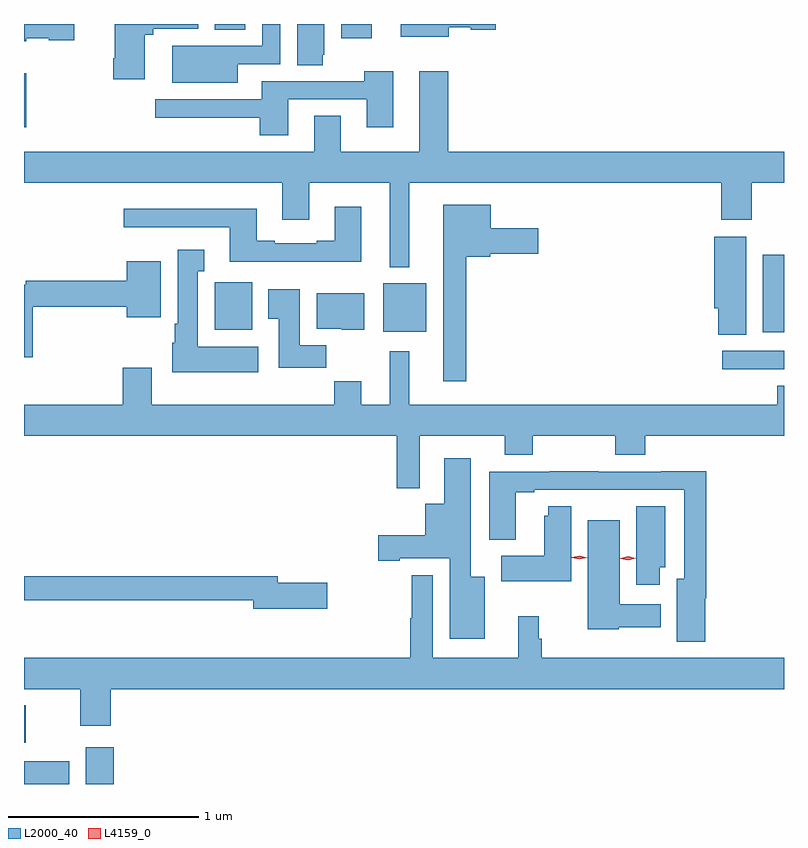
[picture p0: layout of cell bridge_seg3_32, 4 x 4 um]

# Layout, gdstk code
import gdstk
lib = gdstk.Library(unit=1e-6, precision=1e-09)
def R(c, l, rs):  # rectangles x0, y0, x1, y1
    for r in rs: c.add(gdstk.rectangle(r[:2], r[2:], *l))
def P(c, l, *ps):  # polygons
    for p in ps: c.add(gdstk.Polygon(p, *l))
L2000_40 = (2000, 40)
L4159_0 = (4159, 0)

bridge_seg3_32 = lib.new_cell('bridge_seg3_32')
R(bridge_seg3_32, L2000_40, [(683.839,689.76,684.076,689.881), (684.164,689.76,684.311,689.953), (683.839,689.976,683.847,690.175), (687.513,691.944,687.839,692.04), (687.728,692.138,687.839,692.545), (685.73,692.141,685.957,692.395), (684.843,692.15,685.039,692.4), (683.839,693.216,683.852,693.502), (685.508,693.684,685.669,693.76), (684.842,693.731,685.003,693.76)])
P(bridge_seg3_32, L2000_40, [(686.074,693.743),(686.19,693.743),(686.19,693.731),(686.323,693.731),(686.323,693.76),(685.823,693.76),(685.823,693.692),(686.074,693.692)],
  [(685.412,693.597),(685.42,693.597),(685.42,693.76),(685.277,693.76),(685.277,693.544),(685.412,693.544)],
  [(684.964,693.549),(685.188,693.549),(685.188,693.76),(685.092,693.76),(685.092,693.645),(684.846,693.645),(684.846,693.646),(684.62,693.646),(684.62,693.452),(684.964,693.452)],
  [(683.85,693.686),(683.97,693.686),(683.97,693.674),(684.103,693.674),(684.103,693.76),(683.839,693.76),(683.839,693.668),(683.85,693.668)],
  [(684.475,693.704),(684.52,693.704),(684.52,693.734),(684.757,693.734),(684.757,693.76),(684.317,693.76),(684.317,693.58),(684.31,693.58),(684.31,693.468),(684.475,693.468)],
  [(683.839,692.924),(685.199,692.924),(685.199,692.73),(685.339,692.73),(685.339,692.924),(685.763,692.924),(685.763,692.48),(685.867,692.48),(685.867,692.924),(687.509,692.924),(687.509,692.73),(687.669,692.73),(687.669,692.924),(687.839,692.924),(687.839,693.088),(686.072,693.088),(686.072,693.511),(685.919,693.511),(685.919,693.088),(685.507,693.088),(685.507,693.278),(685.367,693.278),(685.367,693.088),(683.839,693.088)],
  [(685.231,693.363),(685.643,693.363),(685.643,693.216),(685.783,693.216),(685.783,693.511),(685.631,693.511),(685.631,693.459),(685.091,693.459),(685.091,693.363),(684.531,693.363),(684.531,693.266),(685.079,693.266),(685.079,693.174),(685.231,693.174)],
  [(686.167,692.534),(686.292,692.534),(686.292,692.552),(686.545,692.552),(686.545,692.686),(686.296,692.686),(686.296,692.809),(686.045,692.809),(686.045,691.881),(686.167,691.881)],
  [(685.615,692.797),(685.475,692.797),(685.475,692.62),(685.379,692.62),(685.379,692.607),(685.159,692.607),(685.159,692.62),(685.063,692.62),(685.063,692.788),(684.363,692.788),(684.363,692.691),(684.923,692.691),(684.923,692.51),(685.615,692.51)],
  [(687.64,692.641),(687.473,692.641),(687.473,692.265),(687.494,692.265),(687.494,692.125),(687.64,692.125)],
  [(685.072,692.062),(684.754,692.062),(684.754,692.459),(684.787,692.459),(684.787,692.572),(684.647,692.572),(684.647,692.182),(684.632,692.182),(684.632,692.082),(684.62,692.082),(684.62,691.928),(685.072,691.928)],
  [(683.885,692.272),(684.38,692.272),(684.38,692.216),(684.559,692.216),(684.559,692.512),(684.38,692.512),(684.38,692.408),(683.848,692.408),(683.848,692.388),(683.839,692.388),(683.839,692.007),(683.885,692.007)],
  [(685.43,692.068),(685.291,692.068),(685.291,692.365),(685.124,692.365),(685.124,692.209),(685.181,692.209),(685.181,691.95),(685.43,691.95)],
  [(685.63,692.344),(685.379,692.344),(685.379,692.156),(685.512,692.156),(685.512,692.15),(685.63,692.15)],
  [(685.921,691.592),(686.369,691.592),(686.369,691.493),(686.517,691.493),(686.517,691.592),(686.95,691.592),(686.95,691.493),(687.11,691.493),(687.11,691.592),(687.839,691.592),(687.839,691.855),(687.803,691.855),(687.803,691.756),(685.867,691.756),(685.867,692.038),(685.763,692.038),(685.763,691.756),(685.615,691.756),(685.615,691.88),(685.471,691.88),(685.471,691.756),(684.511,691.756),(684.511,691.951),(684.359,691.951),(684.359,691.756),(683.839,691.756),(683.839,691.592),(685.8,691.592),(685.8,691.317),(685.921,691.317)],
  [(686.263,690.85),(686.191,690.85),(686.191,691.474),(686.051,691.474),(686.051,691.234),(685.952,691.234),(685.952,691.069),(685.704,691.069),(685.704,690.935),(685.816,690.935),(685.816,690.947),(686.081,690.947),(686.081,690.524),(686.263,690.524)],
  [(687.425,690.737),(687.431,690.737),(687.431,691.406),(687.193,691.406),(687.193,691.404),(686.861,691.404),(686.861,691.406),(686.605,691.406),(686.605,691.404),(686.288,691.404),(686.288,691.046),(686.428,691.046),(686.428,691.296),(686.524,691.296),(686.524,691.308),(687.315,691.308),(687.315,690.841),(687.275,690.841),(687.275,690.509),(687.425,690.509)],
  [(687.184,690.902),(687.214,690.902),(687.214,691.223),(687.062,691.223),(687.062,690.81),(687.184,690.81)],
  [(686.719,691.223),(686.597,691.223),(686.597,691.173),(686.576,691.173),(686.576,690.961),(686.352,690.961),(686.352,690.827),(686.719,690.827)],
  [(686.97,690.584),(687.19,690.584),(687.19,690.706),(686.974,690.706),(686.974,691.147),(686.807,691.147),(686.807,690.575),(686.97,690.575)],
  [(684.296,690.26),(687.839,690.26),(687.839,690.424),(686.563,690.424),(686.563,690.525),(686.548,690.525),(686.548,690.643),(686.441,690.643),(686.441,690.424),(685.989,690.424),(685.989,690.859),(685.881,690.859),(685.881,690.633),(685.873,690.633),(685.873,690.424),(683.839,690.424),(683.839,690.26),(684.136,690.26),(684.136,690.066),(684.296,690.066)],
  [(685.435,690.818),(685.174,690.818),(685.174,690.854),(683.839,690.854),(683.839,690.726),(685.046,690.726),(685.046,690.683),(685.435,690.683)])
P(bridge_seg3_32, L4159_0, [(687.019,690.938),(686.979,690.946),(686.978,690.947),(686.979,690.947),(687.019,690.958),(687.06,690.949),(687.06,690.949),(687.06,690.948)],
  [(686.762,690.942),(686.722,690.952),(686.722,690.953),(686.722,690.953),(686.763,690.962),(686.803,690.952),(686.803,690.952),(686.803,690.951)])

lib.write_gds('bridge_seg3_32.gds')
